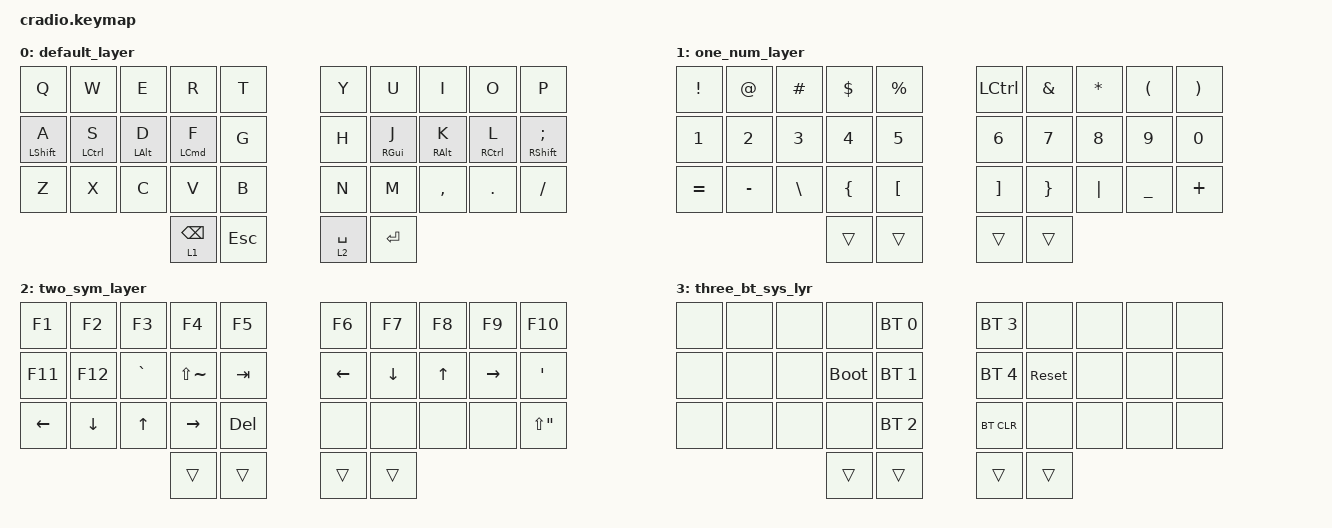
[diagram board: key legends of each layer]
#include <behaviors.dtsi>
#include <dt-bindings/zmk/bt.h>
#include <dt-bindings/zmk/keys.h>

/ {
    combos {
        compatible = "zmk,combos";

        tab {
            bindings = <&kp TAB>;
            key-positions = <10 11>;
        };

        talk {
            bindings = <&kp SINGLE_QUOTE>;
            key-positions = <18 19>;
        };

        grave {
            bindings = <&kp GRAVE>;
            key-positions = <0 1>;
        };
    };

    keymap {
        compatible = "zmk,keymap";

        default_layer {
            bindings = <
&kp Q             &kp W               &kp E           &kp R               &kp T      &kp Y        &kp U            &kp I            &kp O                &kp P
&mt LEFT_SHIFT A  &mt LEFT_CONTROL S  &mt LEFT_ALT D  &mt LEFT_COMMAND F  &kp G      &kp H        &mt RIGHT_GUI J  &mt RIGHT_ALT K  &mt RIGHT_CONTROL L  &mt RIGHT_SHIFT SEMICOLON
&kp Z             &kp X               &kp C           &kp V               &kp B      &kp N        &kp M            &kp COMMA        &kp DOT              &kp SLASH
                                                      &lt 1 BSPC          &kp ESC    &lt 2 SPACE  &kp ENTER
            >;
        };

        one_num_layer {
            bindings = <
&kp EXCLAMATION  &kp AT_SIGN   &kp HASH       &kp DOLLAR      &kp PERCENT         &kp LCTRL     &kp AMPERSAND    &kp ASTERISK  &kp LEFT_PARENTHESIS  &kp RIGHT_PARENTHESIS
&kp NUMBER_1     &kp NUMBER_2  &kp NUMBER_3   &kp NUMBER_4    &kp N5              &kp NUMBER_6  &kp N7           &kp N8        &kp N9                &kp N0
&kp EQUAL        &kp MINUS     &kp BACKSLASH  &kp LEFT_BRACE  &kp LEFT_BRACKET    &kp RBKT      &kp RIGHT_BRACE  &kp PIPE      &kp UNDERSCORE        &kp PLUS
                                              &trans          &trans              &trans        &trans
            >;
        };

        two_sym_layer {
            bindings = <
&kp F1    &kp F2    &kp F3     &kp F4         &kp F5     &kp F6    &kp F7    &kp F8  &kp F9     &kp F10
&kp F11   &kp F12   &kp GRAVE  &kp LS(TILDE)  &kp TAB    &kp LEFT  &kp DOWN  &kp UP  &kp RIGHT  &kp SQT
&kp LEFT  &kp DOWN  &kp UP     &kp RIGHT      &kp DEL    &none     &none     &none   &none      &kp LS(DQT)
                               &trans         &trans     &trans    &trans
            >;
        };

        three_bt_sys_lyr {
            bindings = <
&none  &none  &none  &none        &bt BT_SEL 0    &bt BT_SEL 3  &none       &none  &none  &none
&none  &none  &none  &bootloader  &bt BT_SEL 1    &bt BT_SEL 4  &sys_reset  &none  &none  &none
&none  &none  &none  &none        &bt BT_SEL 2    &bt BT_CLR    &none       &none  &none  &none
                     &trans       &trans          &trans        &trans
            >;
        };
    };

    conditional_layers {
        compatible = "zmk,conditional-layers";

        sys_lyr {
            if-layers = <1 2>;
            then-layer = <3>;
        };
    };
};
